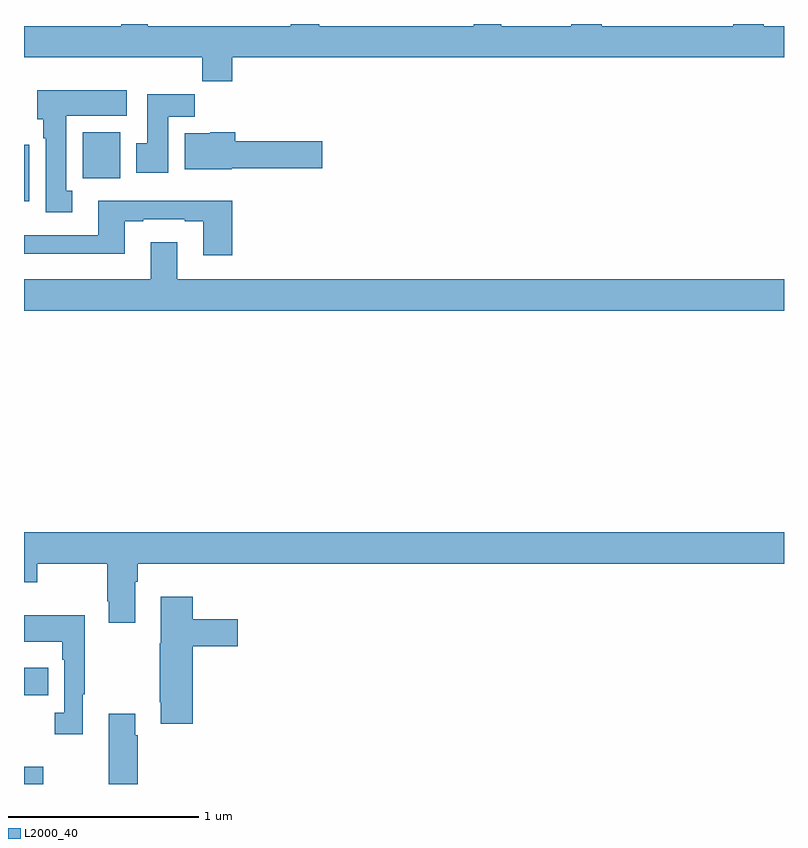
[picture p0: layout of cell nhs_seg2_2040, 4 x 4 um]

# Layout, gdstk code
import gdstk
lib = gdstk.Library(unit=1e-6, precision=1e-09)
def R(c, l, rs):  # rectangles x0, y0, x1, y1
    for r in rs: c.add(gdstk.rectangle(r[:2], r[2:], *l))
def P(c, l, *ps):  # polygons
    for p in ps: c.add(gdstk.Polygon(p, *l))
L2000_40 = (2000, 40)

nhs_seg2_2040 = lib.new_cell('nhs_seg2_2040')
R(nhs_seg2_2040, L2000_40, [(217,655.8,217.101,655.891), (217,656.266,217.127,656.413), (217,658.868,217.027,659.164), (217.31,658.988,217.507,659.23)])
P(nhs_seg2_2040, L2000_40, [(221,659.788),(220.893,659.788),(220.893,659.8),(220.733,659.8),(220.733,659.788),(220.04,659.788),(220.04,659.8),(219.88,659.8),(219.88,659.788),(219.513,659.788),(219.513,659.8),(219.366,659.8),(219.366,659.788),(218.553,659.788),(218.553,659.8),(218.405,659.8),(218.405,659.788),(217.651,659.788),(217.651,659.8),(217.511,659.8),(217.511,659.788),(217,659.788),(217,659.624),(217.939,659.624),(217.939,659.5),(218.096,659.5),(218.096,659.624),(221,659.624)],
  [(217.255,658.922),(217.222,658.922),(217.222,659.318),(217.54,659.318),(217.54,659.452),(217.07,659.452),(217.07,659.298),(217.1,659.298),(217.1,659.198),(217.115,659.198),(217.115,658.809),(217.255,658.809)],
  [(217.759,659.312),(217.898,659.312),(217.898,659.431),(217.649,659.431),(217.649,659.172),(217.592,659.172),(217.592,659.016),(217.759,659.016)],
  [(218.094,659.042),(218.569,659.042),(218.569,659.184),(218.111,659.184),(218.111,659.23),(217.98,659.23),(217.98,659.224),(217.847,659.224),(217.847,659.036),(218.094,659.036)],
  [(218.096,658.87),(217.391,658.87),(217.391,658.689),(217,658.689),(217,658.592),(217.531,658.592),(217.531,658.761),(217.627,658.761),(217.627,658.773),(217.847,658.773),(217.847,658.761),(217.943,658.761),(217.943,658.584),(218.096,658.584)],
  [(221,658.456),(217.807,658.456),(217.807,658.651),(217.667,658.651),(217.667,658.456),(217,658.456),(217,658.292),(221,658.292)],
  [(217.585,656.864),(217.598,656.864),(217.598,656.96),(221,656.96),(221,657.124),(217,657.124),(217,656.861),(217.071,656.861),(217.071,656.96),(217.438,656.96),(217.438,656.761),(217.445,656.761),(217.445,656.649),(217.585,656.649)],
  [(217.889,656.525),(218.125,656.525),(218.125,656.667),(217.889,656.667),(217.889,656.785),(217.721,656.785),(217.721,656.541),(217.714,656.541),(217.714,656.23),(217.721,656.23),(217.721,656.118),(217.889,656.118)],
  [(217.309,656.273),(217.321,656.273),(217.321,656.689),(217,656.689),(217,656.549),(217.2,656.549),(217.2,656.453),(217.212,656.453),(217.212,656.174),(217.161,656.174),(217.161,656.061),(217.309,656.061)],
  [(217.598,656.057),(217.585,656.057),(217.585,656.17),(217.445,656.17),(217.445,655.8),(217.598,655.8)])

lib.write_gds('nhs_seg2_2040.gds')
